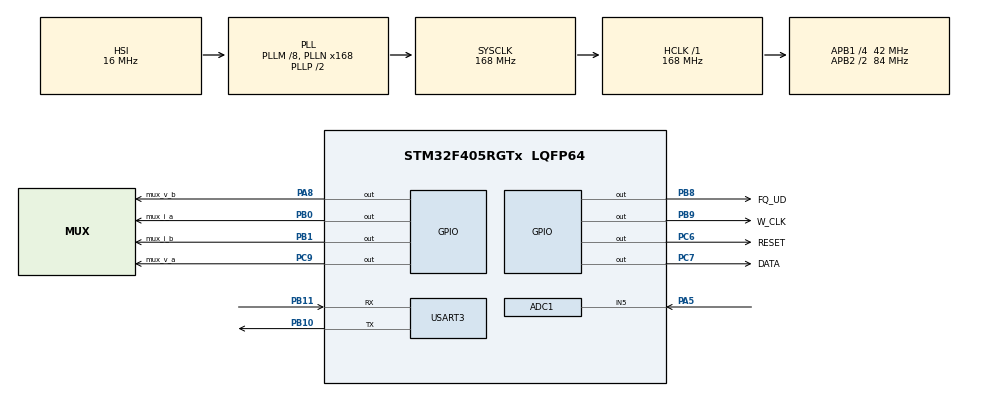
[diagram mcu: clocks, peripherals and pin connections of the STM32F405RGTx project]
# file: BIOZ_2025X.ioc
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ADC1.Channel-0\#ChannelRegularConversion=ADC_CHANNEL_5
ADC1.ContinuousConvMode=ENABLE
ADC1.DMAContinuousRequests=ENABLE
ADC1.EOCSelection=ADC_EOC_SEQ_CONV
ADC1.NbrOfConversionFlag=1
ADC1.Rank-0\#ChannelRegularConversion=1
ADC1.Resolution=ADC_RESOLUTION_10B
ADC1.SamplingTime-0\#ChannelRegularConversion=ADC_SAMPLETIME_3CYCLES
ADC1.master=1
Dma.ADC1.0.Direction=DMA_PERIPH_TO_MEMORY
Dma.ADC1.0.FIFOMode=DMA_FIFOMODE_DISABLE
Dma.ADC1.0.Instance=DMA2_Stream0
Dma.ADC1.0.MemDataAlignment=DMA_MDATAALIGN_HALFWORD
Dma.ADC1.0.MemInc=DMA_MINC_ENABLE
Dma.ADC1.0.Mode=DMA_CIRCULAR
Dma.ADC1.0.PeriphDataAlignment=DMA_PDATAALIGN_HALFWORD
Dma.ADC1.0.PeriphInc=DMA_PINC_DISABLE
Dma.ADC1.0.Priority=DMA_PRIORITY_MEDIUM
Dma.Request0=ADC1
Mcu.Family=STM32F4
Mcu.Name=STM32F405RGTx
Mcu.Package=LQFP64
NVIC.DMA2_Stream0_IRQn=true\:0\:0\:false\:false\:true\:false\:true\:true
NVIC.PriorityGroup=NVIC_PRIORITYGROUP_4
PA13.Mode=Trace_Asynchronous_SW
PA13.Signal=SYS_JTMS-SWDIO
PA14.Mode=Trace_Asynchronous_SW
PA14.Signal=SYS_JTCK-SWCLK
PA5.Signal=ADCx_IN5
PA8.GPIO_Label=mux_v_b
PA8.GPIO_Speed=GPIO_SPEED_FREQ_MEDIUM
PA8.PinState=GPIO_PIN_SET
PA8.Signal=GPIO_Output
PB0.GPIO_Label=mux_i_a
PB0.GPIO_Speed=GPIO_SPEED_FREQ_MEDIUM
PB0.PinState=GPIO_PIN_SET
PB0.Signal=GPIO_Output
PB1.GPIO_Label=mux_i_b
PB1.GPIO_Speed=GPIO_SPEED_FREQ_MEDIUM
PB1.PinState=GPIO_PIN_SET
PB1.Signal=GPIO_Output
PB10.Mode=Asynchronous
PB10.Signal=USART3_TX
PB11.Mode=Asynchronous
PB11.Signal=USART3_RX
PB3.Mode=Trace_Asynchronous_SW
PB3.Signal=SYS_JTDO-SWO
PB8.GPIO_Label=FQ_UD
PB8.GPIO_PuPd=GPIO_PULLUP
PB8.GPIO_Speed=GPIO_SPEED_FREQ_HIGH
PB8.PinState=GPIO_PIN_SET
PB8.Signal=GPIO_Output
PB9.GPIO_Label=W_CLK
PB9.GPIO_PuPd=GPIO_PULLUP
PB9.PinState=GPIO_PIN_SET
PB9.Signal=GPIO_Output
PC14-OSC32_IN.Mode=LSE-External-Oscillator
PC14-OSC32_IN.Signal=RCC_OSC32_IN
PC15-OSC32_OUT.Mode=LSE-External-Oscillator
PC15-OSC32_OUT.Signal=RCC_OSC32_OUT
PC6.GPIO_Label=RESET
PC6.GPIO_PuPd=GPIO_PULLUP
PC6.GPIO_Speed=GPIO_SPEED_FREQ_HIGH
PC6.PinState=GPIO_PIN_SET
PC6.Signal=GPIO_Output
PC7.GPIO_Label=DATA
PC7.GPIO_PuPd=GPIO_PULLUP
PC7.GPIO_Speed=GPIO_SPEED_FREQ_HIGH
PC7.PinState=GPIO_PIN_SET
PC7.Signal=GPIO_Output
PC9.GPIO_Label=mux_v_a
PC9.GPIO_Speed=GPIO_SPEED_FREQ_MEDIUM
PC9.PinState=GPIO_PIN_SET
PC9.Signal=GPIO_Output
PH0-OSC_IN.Mode=HSE-External-Oscillator
PH0-OSC_IN.Signal=RCC_OSC_IN
PH1-OSC_OUT.Mode=HSE-External-Oscillator
PH1-OSC_OUT.Signal=RCC_OSC_OUT
ProjectManager.HeapSize=0x200
ProjectManager.StackSize=0x400
ProjectManager.TargetToolchain=STM32CubeIDE
RCC.48MHZClocksFreq_Value=84000000
RCC.AHBFreq_Value=168000000
RCC.APB1CLKDivider=RCC_HCLK_DIV4
RCC.APB1Freq_Value=42000000
RCC.APB1TimFreq_Value=84000000
RCC.APB2CLKDivider=RCC_HCLK_DIV2
RCC.APB2Freq_Value=84000000
RCC.APB2TimFreq_Value=168000000
RCC.CortexFreq_Value=168000000
RCC.HCLKFreq_Value=168000000
RCC.HSE_VALUE=25000000
RCC.HSI_VALUE=16000000
RCC.PLLM=8
RCC.PLLN=168
RCC.SYSCLKFreq_VALUE=168000000
RCC.SYSCLKSource=RCC_SYSCLKSOURCE_PLLCLK
RCC.VCOOutputFreq_Value=336000000
SH.ADCx_IN5.0=ADC1_IN5,IN5
TIM2.Prescaler=68-1
USART3.VirtualMode=VM_ASYNC
VP_TIM2_VS_ClockSourceINT.Mode=Internal
board=custom

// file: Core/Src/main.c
/* USER CODE BEGIN Header */
/**
  ******************************************************************************
  * @file           : main.c
  * @brief          : Main program body
  ******************************************************************************
  * @attention
  *
  * Copyright (c) 2025 STMicroelectronics.
  * All rights reserved.
  *
  * This software is licensed under terms that can be found in the LICENSE file
  * in the root directory of this software component.
  * If no LICENSE file comes with this software, it is provided AS-IS.
  *
  ******************************************************************************
  */
/* USER CODE END Header */
#include "main.h"

/* USER CODE BEGIN Includes */
#include <string.h>
#include <stdio.h>
/* USER CODE END Includes */

ADC_HandleTypeDef hadc1;
DMA_HandleTypeDef hdma_adc1;

TIM_HandleTypeDef htim2;

UART_HandleTypeDef huart3;

void SystemClock_Config(void);
static void MX_GPIO_Init(void);
static void MX_DMA_Init(void);
static void MX_ADC1_Init(void);
static void MX_TIM2_Init(void);
static void MX_USART3_UART_Init(void);
/* USER CODE BEGIN PFP */
void delay_us(uint32_t us);

/* USER CODE END PFP */

/* USER CODE BEGIN 0 */

#define AD9851_RESET_PORT RESET_GPIO_Port
#define AD9851_RESET_PIN RESET_Pin

#define AD9851_DATA_PORT DATA_GPIO_Port
#define AD9851_DATA_PIN DATA_Pin

#define AD9851_FQUD_PORT FQ_UD_GPIO_Port
#define AD9851_FQUD_PIN FQ_UD_Pin

#define AD9851_WCLK_PORT W_CLK_GPIO_Port
#define AD9851_WCLK_PIN W_CLK_Pin

#define pulseHigh(pin)  { HAL_GPIO_WritePin(pin##_GPIO_Port, pin##_Pin, GPIO_PIN_SET); \
                          HAL_GPIO_WritePin(pin##_GPIO_Port, pin##_Pin, GPIO_PIN_RESET); }

//Log Sweep Parameter
//Freq Sweeping Parameters (1 KHz to 9 KHz)
long unsigned int start_freq_1=1000;   //start frequency (Hz)
long unsigned int stop_freq_1=10000;  //stop frequency (Hz) (N.B.: Don't Sweep over 60 MHz and at 25 MHz)
long unsigned int freq_step_1=1000;   //frequency step size (Hz)

//Freq Sweeping Parameters (10 KHz to 100 KHz)
long unsigned int start_freq_2=10000;   //start frequency (Hz)
long unsigned int stop_freq_2= 100000;  //stop frequency (Hz) (N.B.: Don't Sweep over 60 MHz and at 25 MHz)
long unsigned int freq_step_2= 10000;   //frequency step size (Hz)

//Freq Sweeping Parameters (100 KHz to 1000 KHz)
long unsigned int start_freq_3=	100000;   //start frequency (Hz)
long unsigned int stop_freq_3=	1000000;  //stop frequency (Hz) (N.B.: Don't Sweep over 60 MHz and at 25 MHz)
long unsigned int freq_step_3=	100000;   //frequency step size (Hz)

////Linear Sweep Parameter (10 KHz to 1 MHz)
//long unsigned int start_freq=10e3;   //start frequency (Hz)
//long unsigned int stop_freq=1000e3;  //stop frequency (Hz) (N.B.: Don't Sweep over 60 MHz and at 25 MHz)
//long unsigned int freq_step=10e3;   //frequency step size (Hz)

int arr[] = {1000, 1072, 1150, 1233, 1322, 1417, 1520, 1630, 1748, 1874,
			 2009, 2154, 2310, 2477, 2656, 2848, 3054, 3275, 3511, 3765,
			 4037, 4329, 4642, 4977, 5337, 5722, 6136, 6579, 7055, 7565,
			 8111, 8697, 9326, 10000, 10723, 11498, 12328, 13219, 14175, 15199,
			 16298, 17475, 18738, 20092, 21544, 23101, 24771, 26561, 28480, 30539,
			 32745, 35112, 37649, 40370, 43288, 46416, 49770, 53367, 57224, 61359,
			 65793, 70548, 75646, 81113, 86975, 93260, 100000, 107227, 114976, 123285,
			 132194, 141747, 151991, 162975, 174753, 187382, 200923, 215443, 231013, 247708,
			 265609, 284804, 305386, 327455, 351119, 376494, 403702, 432876, 464159, 497702,
			 533670, 572237, 613591, 657933, 705480, 756463, 811131, 869749, 932603, 1000000};

long unsigned int freq; // freq variable for sweep
uint8_t data_ready_flag = 0;

#define ADC_BUFF_LEN 1024
uint16_t adc_buff[ADC_BUFF_LEN];

void tfr_byte(uint8_t data);
void sendFrequency(double frequency);

// transfer a byte a bit at a time LSB first to DATA
void tfr_byte(uint8_t data)
{
  for (int i=0; i<8; i++, data>>=1) {
    HAL_GPIO_WritePin(DATA_GPIO_Port, DATA_Pin, data & 0x01);
    pulseHigh(W_CLK);
  }
}

// frequency of signwave (datasheet page 12) will be:
//   <sys clock> * <frequency tuning word> / 2^32
void sendFrequency(double frequency) {
//  int32_t freq = frequency * 4294967296.0 / 180000 000;
  int32_t freq = frequency * 4294967296.0 / 180000000;
  for (int b=0; b<4; b++, freq>>=8) {
    tfr_byte(freq & 0xFF);
  }
  tfr_byte(0x81);  // = 0x81: PLL ON + LSB-first mode
  pulseHigh(FQ_UD);
}

void delay_us(uint32_t us)
{
    __HAL_TIM_SET_COUNTER(&htim2, 0);  // Reset counter
    while (__HAL_TIM_GET_COUNTER(&htim2) < us); // Wait until counter reaches 'us'
}

void setup_mux(void){

	//	  T26 with T32
	//	  T23 with T29

	// T23, LC+_1 X1Y1
	HAL_GPIO_WritePin(GPIOB, mux_i_a_Pin, GPIO_PIN_SET);
	HAL_GPIO_WritePin(GPIOB, mux_i_b_Pin, GPIO_PIN_RESET);

	// T26-HV+1,  T32-LV-1   A-HIGH, B-LOW,  X1Y1
	HAL_GPIO_WritePin(mux_v_a_GPIO_Port, mux_v_a_Pin, GPIO_PIN_SET);
	HAL_GPIO_WritePin(mux_v_b_GPIO_Port, mux_v_b_Pin, GPIO_PIN_RESET);

	// write code to

}

void setup_mux_x(int val){

	// switch mux to select between three steps
	/**
	 * Switch one. LowCurrent1 and HighCurrent 1 and HighVoltage1-LowVoltage1
	 * Each step will choose which connector to select from
	 */
	switch(val){
	case 1:
		// T23-T29, T26-T32
		// LC+_1 - LC-_1,	 HV+_1 - LV-_1
		HAL_GPIO_WritePin(GPIOB, mux_i_a_Pin, GPIO_PIN_SET);
		HAL_GPIO_WritePin(GPIOB, mux_i_b_Pin, GPIO_PIN_RESET);

		// T23-T29, T26-T32
		// LC+_1 - LC-_1,	 HV+_1 - LV-_1
		HAL_GPIO_WritePin(mux_v_a_GPIO_Port, mux_v_a_Pin, GPIO_PIN_SET);
		HAL_GPIO_WritePin(mux_v_b_GPIO_Port, mux_v_b_Pin, GPIO_PIN_RESET);
		break;
	case 2:
		// T24-T30, T27-T33
		// LC+_1 - LC-_1,	 HV+_1 - LV-_1
		HAL_GPIO_WritePin(GPIOB, mux_i_a_Pin, GPIO_PIN_RESET);
		HAL_GPIO_WritePin(GPIOB, mux_i_b_Pin, GPIO_PIN_SET);

		HAL_GPIO_WritePin(mux_v_a_GPIO_Port, mux_v_a_Pin, GPIO_PIN_RESET);
		HAL_GPIO_WritePin(mux_v_b_GPIO_Port, mux_v_b_Pin, GPIO_PIN_SET);
		break;
	case 3:
		HAL_GPIO_WritePin(GPIOB, mux_i_a_Pin, GPIO_PIN_SET);
		HAL_GPIO_WritePin(GPIOB, mux_i_b_Pin, GPIO_PIN_SET);

		HAL_GPIO_WritePin(mux_v_a_GPIO_Port, mux_v_a_Pin, GPIO_PIN_SET);
		HAL_GPIO_WritePin(mux_v_b_GPIO_Port, mux_v_b_Pin, GPIO_PIN_SET);
		break;
	default:
		// do nothing
		break;
	}

}

/* USER CODE END 0 */

int main(void)
{

  /* MCU Configuration--------------------------------------------------------*/

  /* Reset of all peripherals, Initializes the Flash interface and the Systick. */
  HAL_Init();

  /* Configure the system clock */
  SystemClock_Config();

  /* Initialize all configured peripherals */
  MX_GPIO_Init();
  MX_DMA_Init();
  MX_ADC1_Init();
  MX_TIM2_Init();
  MX_USART3_UART_Init();
  /* USER CODE BEGIN 2 */
	setup_mux();

	pulseHigh(DATA);
	pulseHigh(RESET);
	pulseHigh(W_CLK);
	pulseHigh(FQ_UD);

	HAL_ADC_Start_DMA(&hadc1, (uint32_t *)adc_buff, ADC_BUFF_LEN);

  /* USER CODE END 2 */

  /* Infinite loop */
  /* USER CODE BEGIN WHILE */

  while (1)
  {

//	 put your main code here, to run repeatedly:
//	(1KHz to 9KHz)
	for(freq=start_freq_1; freq<=stop_freq_1; freq += freq_step_1)
	{
		sendFrequency(3000);
		HAL_Delay(30);// 100 mS delay
	}

//	for(int i=0; i<100; i++){
//		sendFrequency(arr[i]);
//		HAL_Delay(90);// 100
//	}

	sendFrequency(1000000);
	HAL_Delay(90);// 100

	//Freq Sweeping Parameters (10 KHz to 100 KHz)
	for(freq=start_freq_2; freq<=stop_freq_2; freq += freq_step_2)
	{
		sendFrequency(freq);
		HAL_Delay(100);// 100 mS delay
	}

//	Freq Sweeping Parameters (10 KHz to 100 KHz)
	for(freq=start_freq_3; freq<=stop_freq_3; freq += freq_step_3)
	{
		sendFrequency(freq);
		HAL_Delay(100);// 100 mS delay
	}

/*

	if(data_ready_flag){
		  for(int i = 0; i < ADC_BUFF_LEN; i++){
			  char buffer[4];
			  sprintf(buffer, "%u\r\n", adc_buff[i]);
			  HAL_UART_Transmit(&huart3, (uint8_t *)buffer, strlen(buffer), HAL_MAX_DELAY);
		  }
		  data_ready_flag = 0;
	}

	*/

    /* USER CODE END WHILE */

  }
}

void SystemClock_Config(void)
{
  RCC_OscInitTypeDef RCC_OscInitStruct = {0};
  RCC_ClkInitTypeDef RCC_ClkInitStruct = {0};

  /** Configure the main internal regulator output voltage
  */
  __HAL_RCC_PWR_CLK_ENABLE();
  __HAL_PWR_VOLTAGESCALING_CONFIG(PWR_REGULATOR_VOLTAGE_SCALE1);

  /** Initializes the RCC Oscillators according to the specified parameters
  * in the RCC_OscInitTypeDef structure.
  */
  RCC_OscInitStruct.OscillatorType = RCC_OSCILLATORTYPE_HSI;
  RCC_OscInitStruct.HSIState = RCC_HSI_ON;
  RCC_OscInitStruct.HSICalibrationValue = RCC_HSICALIBRATION_DEFAULT;
  RCC_OscInitStruct.PLL.PLLState = RCC_PLL_ON;
  RCC_OscInitStruct.PLL.PLLSource = RCC_PLLSOURCE_HSI;
  RCC_OscInitStruct.PLL.PLLM = 8;
  RCC_OscInitStruct.PLL.PLLN = 168;
  RCC_OscInitStruct.PLL.PLLP = RCC_PLLP_DIV2;
  RCC_OscInitStruct.PLL.PLLQ = 4;
  if (HAL_RCC_OscConfig(&RCC_OscInitStruct) != HAL_OK)
  {
    Error_Handler();
  }

  /** Initializes the CPU, AHB and APB buses clocks
  */
  RCC_ClkInitStruct.ClockType = RCC_CLOCKTYPE_HCLK|RCC_CLOCKTYPE_SYSCLK
                              |RCC_CLOCKTYPE_PCLK1|RCC_CLOCKTYPE_PCLK2;
  RCC_ClkInitStruct.SYSCLKSource = RCC_SYSCLKSOURCE_PLLCLK;
  RCC_ClkInitStruct.AHBCLKDivider = RCC_SYSCLK_DIV1;
  RCC_ClkInitStruct.APB1CLKDivider = RCC_HCLK_DIV4;
  RCC_ClkInitStruct.APB2CLKDivider = RCC_HCLK_DIV2;

  if (HAL_RCC_ClockConfig(&RCC_ClkInitStruct, FLASH_LATENCY_5) != HAL_OK)
  {
    Error_Handler();
  }
}

static void MX_ADC1_Init(void)
{

  ADC_ChannelConfTypeDef sConfig = {0};

  /** Configure the global features of the ADC (Clock, Resolution, Data Alignment and number of conversion)
  */
  hadc1.Instance = ADC1;
  hadc1.Init.ClockPrescaler = ADC_CLOCK_SYNC_PCLK_DIV4;
  hadc1.Init.Resolution = ADC_RESOLUTION_10B;
  hadc1.Init.ScanConvMode = DISABLE;
  hadc1.Init.ContinuousConvMode = ENABLE;
  hadc1.Init.DiscontinuousConvMode = DISABLE;
  hadc1.Init.ExternalTrigConvEdge = ADC_EXTERNALTRIGCONVEDGE_NONE;
  hadc1.Init.ExternalTrigConv = ADC_SOFTWARE_START;
  hadc1.Init.DataAlign = ADC_DATAALIGN_RIGHT;
  hadc1.Init.NbrOfConversion = 1;
  hadc1.Init.DMAContinuousRequests = ENABLE;
  hadc1.Init.EOCSelection = ADC_EOC_SEQ_CONV;
  if (HAL_ADC_Init(&hadc1) != HAL_OK)
  {
    Error_Handler();
  }

  /** Configure for the selected ADC regular channel its corresponding rank in the sequencer and its sample time.
  */
  sConfig.Channel = ADC_CHANNEL_5;
  sConfig.Rank = 1;
  sConfig.SamplingTime = ADC_SAMPLETIME_3CYCLES;
  if (HAL_ADC_ConfigChannel(&hadc1, &sConfig) != HAL_OK)
  {
    Error_Handler();
  }

}

static void MX_TIM2_Init(void)
{

  TIM_ClockConfigTypeDef sClockSourceConfig = {0};
  TIM_MasterConfigTypeDef sMasterConfig = {0};

  htim2.Instance = TIM2;
  htim2.Init.Prescaler = 68-1;
  htim2.Init.CounterMode = TIM_COUNTERMODE_UP;
  htim2.Init.Period = 4294967295;
  htim2.Init.ClockDivision = TIM_CLOCKDIVISION_DIV1;
  htim2.Init.AutoReloadPreload = TIM_AUTORELOAD_PRELOAD_DISABLE;
  if (HAL_TIM_Base_Init(&htim2) != HAL_OK)
  {
    Error_Handler();
  }
  sClockSourceConfig.ClockSource = TIM_CLOCKSOURCE_INTERNAL;
  if (HAL_TIM_ConfigClockSource(&htim2, &sClockSourceConfig) != HAL_OK)
  {
    Error_Handler();
  }
  sMasterConfig.MasterOutputTrigger = TIM_TRGO_RESET;
  sMasterConfig.MasterSlaveMode = TIM_MASTERSLAVEMODE_DISABLE;
  if (HAL_TIMEx_MasterConfigSynchronization(&htim2, &sMasterConfig) != HAL_OK)
  {
    Error_Handler();
  }

}

static void MX_USART3_UART_Init(void)
{

  huart3.Instance = USART3;
  huart3.Init.BaudRate = 115200;
  huart3.Init.WordLength = UART_WORDLENGTH_8B;
  huart3.Init.StopBits = UART_STOPBITS_1;
  huart3.Init.Parity = UART_PARITY_NONE;
  huart3.Init.Mode = UART_MODE_TX_RX;
  huart3.Init.HwFlowCtl = UART_HWCONTROL_NONE;
  huart3.Init.OverSampling = UART_OVERSAMPLING_16;
  if (HAL_UART_Init(&huart3) != HAL_OK)
  {
    Error_Handler();
  }

}

static void MX_DMA_Init(void)
{

  /* DMA controller clock enable */
  __HAL_RCC_DMA2_CLK_ENABLE();

  /* DMA interrupt init */
  /* DMA2_Stream0_IRQn interrupt configuration */
  HAL_NVIC_SetPriority(DMA2_Stream0_IRQn, 0, 0);
  HAL_NVIC_EnableIRQ(DMA2_Stream0_IRQn);

}

static void MX_GPIO_Init(void)
{
  GPIO_InitTypeDef GPIO_InitStruct = {0};

  /* GPIO Ports Clock Enable */
  __HAL_RCC_GPIOC_CLK_ENABLE();
  __HAL_RCC_GPIOH_CLK_ENABLE();
  __HAL_RCC_GPIOA_CLK_ENABLE();
  __HAL_RCC_GPIOB_CLK_ENABLE();

  /*Configure GPIO pin Output Level */
  HAL_GPIO_WritePin(GPIOB, mux_i_a_Pin|mux_i_b_Pin|FQ_UD_Pin|W_CLK_Pin, GPIO_PIN_SET);

  /*Configure GPIO pin Output Level */
  HAL_GPIO_WritePin(GPIOC, RESET_Pin|DATA_Pin|mux_v_a_Pin, GPIO_PIN_SET);

  /*Configure GPIO pin Output Level */
  HAL_GPIO_WritePin(mux_v_b_GPIO_Port, mux_v_b_Pin, GPIO_PIN_SET);

  /*Configure GPIO pins : mux_i_a_Pin mux_i_b_Pin */
  GPIO_InitStruct.Pin = mux_i_a_Pin|mux_i_b_Pin;
  GPIO_InitStruct.Mode = GPIO_MODE_OUTPUT_PP;
  GPIO_InitStruct.Pull = GPIO_NOPULL;
  GPIO_InitStruct.Speed = GPIO_SPEED_FREQ_MEDIUM;
  HAL_GPIO_Init(GPIOB, &GPIO_InitStruct);

  /*Configure GPIO pins : RESET_Pin DATA_Pin */
  GPIO_InitStruct.Pin = RESET_Pin|DATA_Pin;
  GPIO_InitStruct.Mode = GPIO_MODE_OUTPUT_PP;
  GPIO_InitStruct.Pull = GPIO_PULLUP;
  GPIO_InitStruct.Speed = GPIO_SPEED_FREQ_HIGH;
  HAL_GPIO_Init(GPIOC, &GPIO_InitStruct);

  /*Configure GPIO pin : mux_v_a_Pin */
  GPIO_InitStruct.Pin = mux_v_a_Pin;
  GPIO_InitStruct.Mode = GPIO_MODE_OUTPUT_PP;
  GPIO_InitStruct.Pull = GPIO_NOPULL;
  GPIO_InitStruct.Speed = GPIO_SPEED_FREQ_MEDIUM;
  HAL_GPIO_Init(mux_v_a_GPIO_Port, &GPIO_InitStruct);

  /*Configure GPIO pin : mux_v_b_Pin */
  GPIO_InitStruct.Pin = mux_v_b_Pin;
  GPIO_InitStruct.Mode = GPIO_MODE_OUTPUT_PP;
  GPIO_InitStruct.Pull = GPIO_NOPULL;
  GPIO_InitStruct.Speed = GPIO_SPEED_FREQ_MEDIUM;
  HAL_GPIO_Init(mux_v_b_GPIO_Port, &GPIO_InitStruct);

  /*Configure GPIO pin : FQ_UD_Pin */
  GPIO_InitStruct.Pin = FQ_UD_Pin;
  GPIO_InitStruct.Mode = GPIO_MODE_OUTPUT_PP;
  GPIO_InitStruct.Pull = GPIO_PULLUP;
  GPIO_InitStruct.Speed = GPIO_SPEED_FREQ_HIGH;
  HAL_GPIO_Init(FQ_UD_GPIO_Port, &GPIO_InitStruct);

  /*Configure GPIO pin : W_CLK_Pin */
  GPIO_InitStruct.Pin = W_CLK_Pin;
  GPIO_InitStruct.Mode = GPIO_MODE_OUTPUT_PP;
  GPIO_InitStruct.Pull = GPIO_PULLUP;
  GPIO_InitStruct.Speed = GPIO_SPEED_FREQ_LOW;
  HAL_GPIO_Init(W_CLK_GPIO_Port, &GPIO_InitStruct);

}

/* USER CODE BEGIN 4 */
void HAL_ADC_ConvCpltCallback(ADC_HandleTypeDef* hadc){

	  data_ready_flag = 1;
}

// write functions to swich mux

/* USER CODE END 4 */

void Error_Handler(void)
{
  __disable_irq();
  while (1)
  {
  }
}
